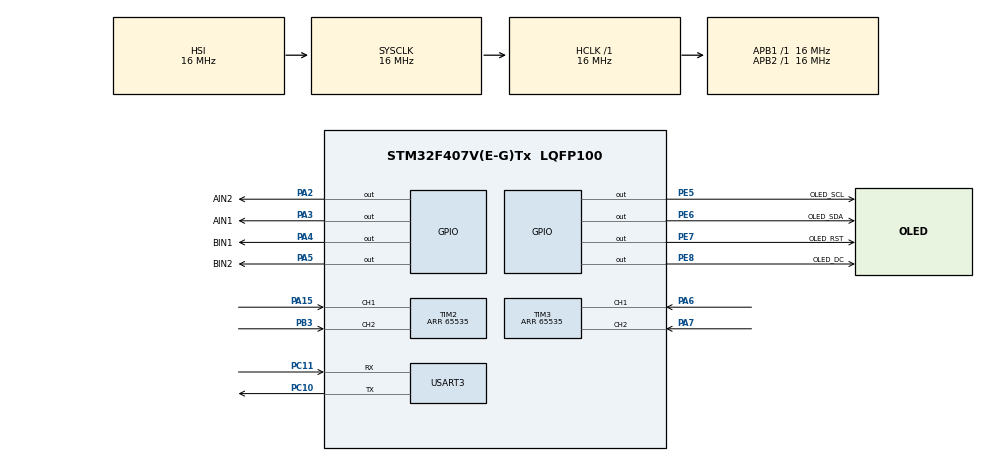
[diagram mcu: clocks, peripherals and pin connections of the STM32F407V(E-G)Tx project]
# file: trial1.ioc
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FREERTOS.Tasks01=defaultTask,24,128,StartDefaultTask,Default,NULL,Dynamic,NULL,NULL;MotorTask,8,128,motors,Default,NULL,Dynamic,NULL,NULL;EncoderTask,8,128,encoder_task,Default,NULL,Dynamic,NULL,NULL;ShowTask,8,128,show,Default,NULL,Dynamic,NULL,NULL
Mcu.Family=STM32F4
Mcu.Name=STM32F407V(E-G)Tx
Mcu.Package=LQFP100
NVIC.PriorityGroup=NVIC_PRIORITYGROUP_4
NVIC.USART3_IRQn=true\:5\:0\:false\:false\:true\:true\:true\:true
PA15.Signal=S_TIM2_CH1_ETR
PA2.GPIO_Label=AIN2
PA2.GPIO_Speed=GPIO_SPEED_FREQ_HIGH
PA2.Signal=GPIO_Output
PA3.GPIO_Label=AIN1
PA3.GPIO_Speed=GPIO_SPEED_FREQ_HIGH
PA3.Signal=GPIO_Output
PA4.GPIO_Label=BIN1
PA4.Signal=GPIO_Output
PA5.GPIO_Label=BIN2
PA5.Signal=GPIO_Output
PA6.Signal=S_TIM3_CH1
PA7.Signal=S_TIM3_CH2
PB3.Signal=S_TIM2_CH2
PC10.Mode=Asynchronous
PC10.Signal=USART3_TX
PC11.Mode=Asynchronous
PC11.Signal=USART3_RX
PC6.GPIO_Label=PWMA
PC6.Signal=S_TIM8_CH1
PC7.GPIO_Label=PWMB
PC7.Signal=S_TIM8_CH2
PE14.Signal=S_TIM1_CH4
PE5.GPIO_Label=OLED_SCL
PE5.Signal=GPIO_Output
PE6.GPIO_Label=OLED_SDA
PE6.Signal=GPIO_Output
PE7.GPIO_Label=OLED_RST
PE7.Signal=GPIO_Output
PE8.GPIO_Label=OLED_DC
PE8.Signal=GPIO_Output
ProjectManager.HeapSize=0x200
ProjectManager.StackSize=0x400
ProjectManager.TargetToolchain=STM32CubeIDE
RCC.AHBFreq_Value=16000000
RCC.APB1Freq_Value=16000000
RCC.APB2Freq_Value=16000000
RCC.CortexFreq_Value=16000000
RCC.HSE_VALUE=25000000
RCC.HSI_VALUE=16000000
RCC.LSE_VALUE=32768
RCC.SYSCLKFreq_VALUE=16000000
RCC.VCOOutputFreq_Value=192000000
SH.S_TIM1_CH4.0=TIM1_CH4
SH.S_TIM2_CH1_ETR.0=TIM2_CH1,Encoder_Interface
SH.S_TIM2_CH2.0=TIM2_CH2,Encoder_Interface
SH.S_TIM3_CH1.0=TIM3_CH1,Encoder_Interface
SH.S_TIM3_CH2.0=TIM3_CH2,Encoder_Interface
SH.S_TIM8_CH1.0=TIM8_CH1
SH.S_TIM8_CH2.0=TIM8_CH2
TIM1.AutoReloadPreload=TIM_AUTORELOAD_PRELOAD_ENABLE
TIM1.Channel-PWM\ Generation4\ No\ Output=TIM_CHANNEL_4
TIM1.Period=1000
TIM1.Prescaler=320
TIM2.AutoReloadPreload=TIM_AUTORELOAD_PRELOAD_DISABLE
TIM2.EncoderMode=TIM_ENCODERMODE_TI12
TIM2.Period=65535
TIM3.AutoReloadPreload=TIM_AUTORELOAD_PRELOAD_DISABLE
TIM3.EncoderMode=TIM_ENCODERMODE_TI12
TIM3.Period=65535
TIM8.Channel-PWM\ Generation1\ No\ Output=TIM_CHANNEL_1
TIM8.Channel-PWM\ Generation2\ No\ Output=TIM_CHANNEL_2
TIM8.CounterMode=TIM_COUNTERMODE_UP
TIM8.Period=7199
USART3.VirtualMode=VM_ASYNC
VP_FREERTOS_VS_CMSIS_V2.Mode=CMSIS_V2
VP_TIM1_VS_ClockSourceINT.Mode=Internal
VP_TIM1_VS_no_output4.Mode=PWM Generation4 No Output
VP_TIM8_VS_ClockSourceINT.Mode=Internal
VP_TIM8_VS_no_output1.Mode=PWM Generation1 No Output
VP_TIM8_VS_no_output2.Mode=PWM Generation2 No Output
board=custom

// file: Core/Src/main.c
/* USER CODE BEGIN Header */
/**
  ******************************************************************************
  * @file           : main.c
  * @brief          : Main program body
  ******************************************************************************
  * @attention
  *
  * Copyright (c) 2022 STMicroelectronics.
  * All rights reserved.
  *
  * This software is licensed under terms that can be found in the LICENSE file
  * in the root directory of this software component.
  * If no LICENSE file comes with this software, it is provided AS-IS.
  *
  ******************************************************************************
  */
/* USER CODE END Header */
#include "main.h"
#include "cmsis_os.h"

/* USER CODE BEGIN Includes */
#include "oled.h"
#include "math.h"
#include "stdbool.h"
/* USER CODE END Includes */

TIM_HandleTypeDef htim1;
TIM_HandleTypeDef htim2;
TIM_HandleTypeDef htim3;
TIM_HandleTypeDef htim8;

UART_HandleTypeDef huart3;

/* Definitions for defaultTask */
osThreadId_t defaultTaskHandle;
const osThreadAttr_t defaultTask_attributes = {
  .name = "defaultTask",
  .stack_size = 128 * 4,
  .priority = (osPriority_t) osPriorityNormal,
};
/* Definitions for MotorTask */
osThreadId_t MotorTaskHandle;
const osThreadAttr_t MotorTask_attributes = {
  .name = "MotorTask",
  .stack_size = 128 * 4,
  .priority = (osPriority_t) osPriorityLow,
};
/* Definitions for EncoderTask */
osThreadId_t EncoderTaskHandle;
const osThreadAttr_t EncoderTask_attributes = {
  .name = "EncoderTask",
  .stack_size = 128 * 4,
  .priority = (osPriority_t) osPriorityLow,
};
/* Definitions for ShowTask */
osThreadId_t ShowTaskHandle;
const osThreadAttr_t ShowTask_attributes = {
  .name = "ShowTask",
  .stack_size = 128 * 4,
  .priority = (osPriority_t) osPriorityLow,
};

void SystemClock_Config(void);
static void MX_GPIO_Init(void);
static void MX_TIM8_Init(void);
static void MX_TIM2_Init(void);
static void MX_TIM3_Init(void);
static void MX_TIM1_Init(void);
static void MX_USART3_UART_Init(void);
void StartDefaultTask(void *argument);
void motors(void *argument);
void encoder_task(void *argument);
void show(void *argument);

/* USER CODE BEGIN 0 */
uint8_t aRxBuffer[4];
uint8_t indexer = 0; // to store array index and determine number of incoming chars
uint8_t data_rx = 0; // to receive incoming uart char
/* USER CODE END 0 */

int main(void)
{

  /* MCU Configuration--------------------------------------------------------*/

  /* Reset of all peripherals, Initializes the Flash interface and the Systick. */
  HAL_Init();

  /* Configure the system clock */
  SystemClock_Config();

  /* Initialize all configured peripherals */
  MX_GPIO_Init();
  MX_TIM8_Init();
  MX_TIM2_Init();
  MX_TIM3_Init();
  MX_TIM1_Init();
  MX_USART3_UART_Init();
  /* USER CODE BEGIN 2 */
  OLED_Init();

  HAL_UART_Receive_IT(&huart3,(uint8_t *) &data_rx, 1);
//  HAL_UART_Receive_DMA (&huart3, UART1_rxBuffer, 12);
  /* USER CODE END 2 */

  /* Init scheduler */
  osKernelInitialize();

  /* Create the thread(s) */
  /* creation of defaultTask */
  defaultTaskHandle = osThreadNew(StartDefaultTask, NULL, &defaultTask_attributes);

  /* creation of MotorTask */
  MotorTaskHandle = osThreadNew(motors, NULL, &MotorTask_attributes);

  /* creation of EncoderTask */
  EncoderTaskHandle = osThreadNew(encoder_task, NULL, &EncoderTask_attributes);

  /* creation of ShowTask */
  ShowTaskHandle = osThreadNew(show, NULL, &ShowTask_attributes);

  /* Start scheduler */
  osKernelStart();

  /* We should never get here as control is now taken by the scheduler */
  /* Infinite loop */
  while (1)
  {

  }
}

void SystemClock_Config(void)
{
  RCC_OscInitTypeDef RCC_OscInitStruct = {0};
  RCC_ClkInitTypeDef RCC_ClkInitStruct = {0};

  /** Configure the main internal regulator output voltage
  */
  __HAL_RCC_PWR_CLK_ENABLE();
  __HAL_PWR_VOLTAGESCALING_CONFIG(PWR_REGULATOR_VOLTAGE_SCALE1);
  /** Initializes the RCC Oscillators according to the specified parameters
  * in the RCC_OscInitTypeDef structure.
  */
  RCC_OscInitStruct.OscillatorType = RCC_OSCILLATORTYPE_HSI;
  RCC_OscInitStruct.HSIState = RCC_HSI_ON;
  RCC_OscInitStruct.HSICalibrationValue = RCC_HSICALIBRATION_DEFAULT;
  RCC_OscInitStruct.PLL.PLLState = RCC_PLL_NONE;
  if (HAL_RCC_OscConfig(&RCC_OscInitStruct) != HAL_OK)
  {
    Error_Handler();
  }
  /** Initializes the CPU, AHB and APB buses clocks
  */
  RCC_ClkInitStruct.ClockType = RCC_CLOCKTYPE_HCLK|RCC_CLOCKTYPE_SYSCLK
                              |RCC_CLOCKTYPE_PCLK1|RCC_CLOCKTYPE_PCLK2;
  RCC_ClkInitStruct.SYSCLKSource = RCC_SYSCLKSOURCE_HSI;
  RCC_ClkInitStruct.AHBCLKDivider = RCC_SYSCLK_DIV1;
  RCC_ClkInitStruct.APB1CLKDivider = RCC_HCLK_DIV1;
  RCC_ClkInitStruct.APB2CLKDivider = RCC_HCLK_DIV1;

  if (HAL_RCC_ClockConfig(&RCC_ClkInitStruct, FLASH_LATENCY_0) != HAL_OK)
  {
    Error_Handler();
  }
}

static void MX_TIM1_Init(void)
{

  TIM_ClockConfigTypeDef sClockSourceConfig = {0};
  TIM_MasterConfigTypeDef sMasterConfig = {0};
  TIM_OC_InitTypeDef sConfigOC = {0};
  TIM_BreakDeadTimeConfigTypeDef sBreakDeadTimeConfig = {0};

  htim1.Instance = TIM1;
  htim1.Init.Prescaler = 320;
  htim1.Init.CounterMode = TIM_COUNTERMODE_UP;
  htim1.Init.Period = 1000;
  htim1.Init.ClockDivision = TIM_CLOCKDIVISION_DIV1;
  htim1.Init.RepetitionCounter = 0;
  htim1.Init.AutoReloadPreload = TIM_AUTORELOAD_PRELOAD_ENABLE;
  if (HAL_TIM_Base_Init(&htim1) != HAL_OK)
  {
    Error_Handler();
  }
  sClockSourceConfig.ClockSource = TIM_CLOCKSOURCE_INTERNAL;
  if (HAL_TIM_ConfigClockSource(&htim1, &sClockSourceConfig) != HAL_OK)
  {
    Error_Handler();
  }
  if (HAL_TIM_PWM_Init(&htim1) != HAL_OK)
  {
    Error_Handler();
  }
  sMasterConfig.MasterOutputTrigger = TIM_TRGO_RESET;
  sMasterConfig.MasterSlaveMode = TIM_MASTERSLAVEMODE_DISABLE;
  if (HAL_TIMEx_MasterConfigSynchronization(&htim1, &sMasterConfig) != HAL_OK)
  {
    Error_Handler();
  }
  sConfigOC.OCMode = TIM_OCMODE_PWM1;
  sConfigOC.Pulse = 0;
  sConfigOC.OCPolarity = TIM_OCPOLARITY_HIGH;
  sConfigOC.OCFastMode = TIM_OCFAST_DISABLE;
  sConfigOC.OCIdleState = TIM_OCIDLESTATE_RESET;
  sConfigOC.OCNIdleState = TIM_OCNIDLESTATE_RESET;
  if (HAL_TIM_PWM_ConfigChannel(&htim1, &sConfigOC, TIM_CHANNEL_4) != HAL_OK)
  {
    Error_Handler();
  }
  sBreakDeadTimeConfig.OffStateRunMode = TIM_OSSR_DISABLE;
  sBreakDeadTimeConfig.OffStateIDLEMode = TIM_OSSI_DISABLE;
  sBreakDeadTimeConfig.LockLevel = TIM_LOCKLEVEL_OFF;
  sBreakDeadTimeConfig.DeadTime = 0;
  sBreakDeadTimeConfig.BreakState = TIM_BREAK_DISABLE;
  sBreakDeadTimeConfig.BreakPolarity = TIM_BREAKPOLARITY_HIGH;
  sBreakDeadTimeConfig.AutomaticOutput = TIM_AUTOMATICOUTPUT_DISABLE;
  if (HAL_TIMEx_ConfigBreakDeadTime(&htim1, &sBreakDeadTimeConfig) != HAL_OK)
  {
    Error_Handler();
  }

}

static void MX_TIM2_Init(void)
{

  TIM_Encoder_InitTypeDef sConfig = {0};
  TIM_MasterConfigTypeDef sMasterConfig = {0};

  htim2.Instance = TIM2;
  htim2.Init.Prescaler = 0;
  htim2.Init.CounterMode = TIM_COUNTERMODE_UP;
  htim2.Init.Period = 65535;
  htim2.Init.ClockDivision = TIM_CLOCKDIVISION_DIV1;
  htim2.Init.AutoReloadPreload = TIM_AUTORELOAD_PRELOAD_DISABLE;
  sConfig.EncoderMode = TIM_ENCODERMODE_TI12;
  sConfig.IC1Polarity = TIM_ICPOLARITY_RISING;
  sConfig.IC1Selection = TIM_ICSELECTION_DIRECTTI;
  sConfig.IC1Prescaler = TIM_ICPSC_DIV1;
  sConfig.IC1Filter = 0;
  sConfig.IC2Polarity = TIM_ICPOLARITY_RISING;
  sConfig.IC2Selection = TIM_ICSELECTION_DIRECTTI;
  sConfig.IC2Prescaler = TIM_ICPSC_DIV1;
  sConfig.IC2Filter = 0;
  if (HAL_TIM_Encoder_Init(&htim2, &sConfig) != HAL_OK)
  {
    Error_Handler();
  }
  sMasterConfig.MasterOutputTrigger = TIM_TRGO_RESET;
  sMasterConfig.MasterSlaveMode = TIM_MASTERSLAVEMODE_DISABLE;
  if (HAL_TIMEx_MasterConfigSynchronization(&htim2, &sMasterConfig) != HAL_OK)
  {
    Error_Handler();
  }

}

static void MX_TIM3_Init(void)
{

  TIM_Encoder_InitTypeDef sConfig = {0};
  TIM_MasterConfigTypeDef sMasterConfig = {0};

  htim3.Instance = TIM3;
  htim3.Init.Prescaler = 0;
  htim3.Init.CounterMode = TIM_COUNTERMODE_UP;
  htim3.Init.Period = 65535;
  htim3.Init.ClockDivision = TIM_CLOCKDIVISION_DIV1;
  htim3.Init.AutoReloadPreload = TIM_AUTORELOAD_PRELOAD_DISABLE;
  sConfig.EncoderMode = TIM_ENCODERMODE_TI12;
  sConfig.IC1Polarity = TIM_ICPOLARITY_RISING;
  sConfig.IC1Selection = TIM_ICSELECTION_DIRECTTI;
  sConfig.IC1Prescaler = TIM_ICPSC_DIV1;
  sConfig.IC1Filter = 0;
  sConfig.IC2Polarity = TIM_ICPOLARITY_RISING;
  sConfig.IC2Selection = TIM_ICSELECTION_DIRECTTI;
  sConfig.IC2Prescaler = TIM_ICPSC_DIV1;
  sConfig.IC2Filter = 0;
  if (HAL_TIM_Encoder_Init(&htim3, &sConfig) != HAL_OK)
  {
    Error_Handler();
  }
  sMasterConfig.MasterOutputTrigger = TIM_TRGO_RESET;
  sMasterConfig.MasterSlaveMode = TIM_MASTERSLAVEMODE_DISABLE;
  if (HAL_TIMEx_MasterConfigSynchronization(&htim3, &sMasterConfig) != HAL_OK)
  {
    Error_Handler();
  }

}

static void MX_TIM8_Init(void)
{

  TIM_ClockConfigTypeDef sClockSourceConfig = {0};
  TIM_MasterConfigTypeDef sMasterConfig = {0};
  TIM_OC_InitTypeDef sConfigOC = {0};
  TIM_BreakDeadTimeConfigTypeDef sBreakDeadTimeConfig = {0};

  htim8.Instance = TIM8;
  htim8.Init.Prescaler = 0;
  htim8.Init.CounterMode = TIM_COUNTERMODE_UP;
  htim8.Init.Period = 7199;
  htim8.Init.ClockDivision = TIM_CLOCKDIVISION_DIV1;
  htim8.Init.RepetitionCounter = 0;
  htim8.Init.AutoReloadPreload = TIM_AUTORELOAD_PRELOAD_DISABLE;
  if (HAL_TIM_Base_Init(&htim8) != HAL_OK)
  {
    Error_Handler();
  }
  sClockSourceConfig.ClockSource = TIM_CLOCKSOURCE_INTERNAL;
  if (HAL_TIM_ConfigClockSource(&htim8, &sClockSourceConfig) != HAL_OK)
  {
    Error_Handler();
  }
  if (HAL_TIM_PWM_Init(&htim8) != HAL_OK)
  {
    Error_Handler();
  }
  sMasterConfig.MasterOutputTrigger = TIM_TRGO_RESET;
  sMasterConfig.MasterSlaveMode = TIM_MASTERSLAVEMODE_DISABLE;
  if (HAL_TIMEx_MasterConfigSynchronization(&htim8, &sMasterConfig) != HAL_OK)
  {
    Error_Handler();
  }
  sConfigOC.OCMode = TIM_OCMODE_PWM1;
  sConfigOC.Pulse = 0;
  sConfigOC.OCPolarity = TIM_OCPOLARITY_HIGH;
  sConfigOC.OCNPolarity = TIM_OCNPOLARITY_HIGH;
  sConfigOC.OCFastMode = TIM_OCFAST_DISABLE;
  sConfigOC.OCIdleState = TIM_OCIDLESTATE_RESET;
  sConfigOC.OCNIdleState = TIM_OCNIDLESTATE_RESET;
  if (HAL_TIM_PWM_ConfigChannel(&htim8, &sConfigOC, TIM_CHANNEL_1) != HAL_OK)
  {
    Error_Handler();
  }
  if (HAL_TIM_PWM_ConfigChannel(&htim8, &sConfigOC, TIM_CHANNEL_2) != HAL_OK)
  {
    Error_Handler();
  }
  sBreakDeadTimeConfig.OffStateRunMode = TIM_OSSR_DISABLE;
  sBreakDeadTimeConfig.OffStateIDLEMode = TIM_OSSI_DISABLE;
  sBreakDeadTimeConfig.LockLevel = TIM_LOCKLEVEL_OFF;
  sBreakDeadTimeConfig.DeadTime = 0;
  sBreakDeadTimeConfig.BreakState = TIM_BREAK_DISABLE;
  sBreakDeadTimeConfig.BreakPolarity = TIM_BREAKPOLARITY_HIGH;
  sBreakDeadTimeConfig.AutomaticOutput = TIM_AUTOMATICOUTPUT_DISABLE;
  if (HAL_TIMEx_ConfigBreakDeadTime(&htim8, &sBreakDeadTimeConfig) != HAL_OK)
  {
    Error_Handler();
  }

}

static void MX_USART3_UART_Init(void)
{

  huart3.Instance = USART3;
  huart3.Init.BaudRate = 115200;
  huart3.Init.WordLength = UART_WORDLENGTH_8B;
  huart3.Init.StopBits = UART_STOPBITS_1;
  huart3.Init.Parity = UART_PARITY_NONE;
  huart3.Init.Mode = UART_MODE_TX_RX;
  huart3.Init.HwFlowCtl = UART_HWCONTROL_NONE;
  huart3.Init.OverSampling = UART_OVERSAMPLING_16;
  if (HAL_UART_Init(&huart3) != HAL_OK)
  {
    Error_Handler();
  }

}

static void MX_GPIO_Init(void)
{
  GPIO_InitTypeDef GPIO_InitStruct = {0};

  /* GPIO Ports Clock Enable */
  __HAL_RCC_GPIOE_CLK_ENABLE();
  __HAL_RCC_GPIOA_CLK_ENABLE();
  __HAL_RCC_GPIOC_CLK_ENABLE();
  __HAL_RCC_GPIOB_CLK_ENABLE();

  /*Configure GPIO pin Output Level */
  HAL_GPIO_WritePin(GPIOE, OLED_SCL_Pin|OLED_SDA_Pin|OLED_RST_Pin|OLED_DC_Pin, GPIO_PIN_RESET);

  /*Configure GPIO pin Output Level */
  HAL_GPIO_WritePin(GPIOA, AIN2_Pin|AIN1_Pin|BIN1_Pin|BIN2_Pin, GPIO_PIN_RESET);

  /*Configure GPIO pins : OLED_SCL_Pin OLED_SDA_Pin OLED_RST_Pin OLED_DC_Pin */
  GPIO_InitStruct.Pin = OLED_SCL_Pin|OLED_SDA_Pin|OLED_RST_Pin|OLED_DC_Pin;
  GPIO_InitStruct.Mode = GPIO_MODE_OUTPUT_PP;
  GPIO_InitStruct.Pull = GPIO_NOPULL;
  GPIO_InitStruct.Speed = GPIO_SPEED_FREQ_LOW;
  HAL_GPIO_Init(GPIOE, &GPIO_InitStruct);

  /*Configure GPIO pins : AIN2_Pin AIN1_Pin */
  GPIO_InitStruct.Pin = AIN2_Pin|AIN1_Pin;
  GPIO_InitStruct.Mode = GPIO_MODE_OUTPUT_PP;
  GPIO_InitStruct.Pull = GPIO_NOPULL;
  GPIO_InitStruct.Speed = GPIO_SPEED_FREQ_HIGH;
  HAL_GPIO_Init(GPIOA, &GPIO_InitStruct);

  /*Configure GPIO pins : BIN1_Pin BIN2_Pin */
  GPIO_InitStruct.Pin = BIN1_Pin|BIN2_Pin;
  GPIO_InitStruct.Mode = GPIO_MODE_OUTPUT_PP;
  GPIO_InitStruct.Pull = GPIO_NOPULL;
  GPIO_InitStruct.Speed = GPIO_SPEED_FREQ_LOW;
  HAL_GPIO_Init(GPIOA, &GPIO_InitStruct);

}

/* USER CODE BEGIN 4 */
bool receivingUART = false;
bool commandReady = false;
uint8_t count = 0;
uint8_t txCount = 0;
uint32_t testVal = 0;

void HAL_UART_RxCpltCallback(UART_HandleTypeDef * huart)
{
	UNUSED(huart);
  count += 1;
	uint8_t endChar = '\r';
	if (data_rx == endChar && ! receivingUART){
		data_rx = 0;
		indexer = 0;
		memset(aRxBuffer,0, 4);
		receivingUART = true;
	} else if (receivingUART){
		if (data_rx != endChar){
			aRxBuffer[indexer] = data_rx;
			indexer++;
		} else {
			receivingUART = false;
			commandReady = true;
			data_rx = 0;
		}
	}
	/**
	 * re receiving signal
	 */
	HAL_UART_Receive_IT(&huart3,(uint8_t *) &data_rx, 1);
}

void HAL_UART_TxCpltCallback(UART_HandleTypeDef *huart)
{
	UNUSED(huart);
  txCount +=1 ;
}

// motors function

float arrTofloat(uint8_t arr[4], int s, int e){
	float res =0;
	for (int j=0;j<=e-s;j++){
//		myInt1 = bytes[0] + (bytes[1] << 8) + (bytes[2] << 16) + (bytes[3] << 24);
	 	res += pow(10,j)*((int) arr[e-j]-48);
	}
	return res;
}

void stop_rear_wheels()
{
	__HAL_TIM_SET_COMPARE(&htim8, TIM_CHANNEL_1, 0);
	__HAL_TIM_SET_COMPARE(&htim8, TIM_CHANNEL_2, 0);
}

void set_wheel_direction(bool isForward){
	if (isForward){
		HAL_GPIO_WritePin(GPIOA,AIN2_Pin,GPIO_PIN_SET);
		HAL_GPIO_WritePin(GPIOA,AIN1_Pin,GPIO_PIN_RESET);
		HAL_GPIO_WritePin(GPIOA, BIN2_Pin, GPIO_PIN_SET);
		HAL_GPIO_WritePin(GPIOA, BIN1_Pin, GPIO_PIN_RESET);
	} else {
		HAL_GPIO_WritePin(GPIOA,AIN2_Pin,GPIO_PIN_RESET);
		HAL_GPIO_WritePin(GPIOA,AIN1_Pin,GPIO_PIN_SET);
		HAL_GPIO_WritePin(GPIOA, BIN2_Pin, GPIO_PIN_RESET);
		HAL_GPIO_WritePin(GPIOA, BIN1_Pin, GPIO_PIN_SET);
	}
}

uint32_t motorAPwm = 5840; // 5820
uint32_t motorBPwm = 5510; // 5510;
uint32_t motorAPwmLow = 1000;
uint32_t motorBPwmLow = 950;
uint32_t servoRight = 135; // measure tan 1.6/3 - set to 140 => motor will not run -> think 135 is max
uint32_t servoLeft = 50; // old 44 // measure tan: 1.7/3
uint32_t servoMid = 73;

/** measure distance **/
bool isMeasureDis = false;
bool overFlow = false;
uint32_t diffA = 0;
uint32_t diffB = 0;

uint32_t cnt1A = 0;
uint32_t cnt1B = 0;
uint32_t cnt2A = 0;
uint32_t cnt2B = 0;

bool isDownA = false;
bool isDownB = false;

uint32_t findDiffTime (bool isCountDown, uint32_t cnt1, uint32_t cnt2){
	uint32_t diff;
	if(isCountDown){
		if(cnt2 <= cnt1){
			overFlow = false;
			diff = cnt1 - cnt2;
		} else {
			overFlow = true;
			diff = (65535 - cnt2) + cnt1;
		}
	}
	else{
		if(cnt2 >= cnt1){
			overFlow = false;
			diff = cnt2 - cnt1;
		} else {
			overFlow = true;
			diff = (65535 - cnt1) + cnt2;
		}
	}
	return diff;
}

float measure (int cnt1_A, int cnt1_B){
	float disA, disB;
	int cnt2_A, cnt2_B, diff_A, diff_B;

	isDownA = __HAL_TIM_IS_TIM_COUNTING_DOWN(&htim2);
	isDownB = __HAL_TIM_IS_TIM_COUNTING_DOWN(&htim3);
	cnt2_A = __HAL_TIM_GET_COUNTER(&htim2);
	cnt2_B = __HAL_TIM_GET_COUNTER(&htim3);

	cnt2A = cnt2_A;
	cnt2B = cnt2_B;
	diff_A = findDiffTime(isDownA, cnt1_A, cnt2_A);
	diff_B = findDiffTime(isDownB ,cnt1_B, cnt2_B);

	diffA = diff_A;
	diffB = diff_B;
	disA = diff_A*M_PI/(330*4)*6.5;
	disB = diff_B*M_PI/(330*4)*6.5;
	return (disA + disB)/2;
}

/* distance should be in cm*/
void move_straight(bool isForward, float distance)
{
//	uint32_t distance_ticks = ((distance/100)/(0.065*3.1416)) / (speedConstant/330*36) *60 * 1000;
	//(1*1.24/(0.065*3.1416)) / (1180/330*36) *60 * 1000
	set_wheel_direction(isForward);
//	uint8_t hello_A[20];
	isMeasureDis = true; // trigger measure distance
	float measuredDis = 0;
	int cnt1_A, cnt1_B;

	uint32_t usePwmA, usePwmB;
	if (distance > 50){
		usePwmA = motorAPwm;
		usePwmB = motorBPwm;
	} else {
		usePwmA = motorAPwmLow;
		usePwmB = motorBPwmLow;
	}
//	LED_SHOW = 1;
	HAL_Delay(100); // delay to the encoder work properly when change direction
	htim1.Instance->CCR4 = servoMid;
	__HAL_TIM_SET_COMPARE(&htim8, TIM_CHANNEL_1, usePwmA);
	__HAL_TIM_SET_COMPARE(&htim8, TIM_CHANNEL_2, usePwmB);

	cnt1_A = __HAL_TIM_GET_COUNTER(&htim2);
  cnt1_B = __HAL_TIM_GET_COUNTER(&htim3);
//	while (distance > measuredDis) {
//		deltaT = HAL_GetTick() - tick;
//		if (deltaT > 10L){
//			measuredDis = measure(cnt1_A, cnt1_B);
//			testVal = (uint32_t) measuredDis;
//			tick = HAL_GetTick();
//		}
//	}
	do {
		measuredDis = measure(cnt1_A, cnt1_B);
		testVal = (uint32_t) measuredDis;
		HAL_Delay(10);
	} while (distance > measuredDis);
//	LED_SHOW = 0;
	isMeasureDis = false; // stop measure
	stop_rear_wheels();
}

void move_straight_10(){
	htim1.Instance->CCR4 = servoMid;
	osDelay(500);
	uint32_t pwmVal = 5505;
	uint32_t pwmVal_2 = 5820;

	HAL_GPIO_WritePin(GPIOA, AIN2_Pin, GPIO_PIN_SET);
	HAL_GPIO_WritePin(GPIOA, BIN2_Pin, GPIO_PIN_SET);
	HAL_GPIO_WritePin(GPIOA, AIN1_Pin, GPIO_PIN_RESET);
	HAL_GPIO_WritePin(GPIOA, BIN1_Pin, GPIO_PIN_RESET);
	__HAL_TIM_SetCompare(&htim8, TIM_CHANNEL_1, pwmVal_2);
	__HAL_TIM_SetCompare(&htim8, TIM_CHANNEL_2, pwmVal);
	osDelay(125); // set this to change the distance
	// osDelay(120) is 10cm
	stop_rear_wheels();
	osDelay(500);
}

void turn_left()
{
	htim1.Instance->CCR4 = servoMid;
	osDelay(500);
	htim1.Instance->CCR4 = servoLeft;
	uint32_t pwmVal = 0;
	uint32_t pwmVal_2 = 6000;

	HAL_GPIO_WritePin(GPIOA, AIN2_Pin, GPIO_PIN_SET);
	HAL_GPIO_WritePin(GPIOA, BIN2_Pin, GPIO_PIN_SET);
	HAL_GPIO_WritePin(GPIOA, AIN1_Pin, GPIO_PIN_RESET);
	HAL_GPIO_WritePin(GPIOA, BIN1_Pin, GPIO_PIN_RESET);
	__HAL_TIM_SetCompare(&htim8, TIM_CHANNEL_1, pwmVal_2);
	__HAL_TIM_SetCompare(&htim8, TIM_CHANNEL_2, pwmVal);
	osDelay(630); // set this to change the angle of turn
	stop_rear_wheels();
//  htim1.Instance->CCR4 = servoMid;
//	osDelay(500);
}

void turn_right()
{
	htim1.Instance->CCR4 = servoMid;
	osDelay(500);
	htim1.Instance->CCR4 = servoRight;
	uint32_t pwmVal = 6000;
	uint32_t pwmVal_2 = 0;

	HAL_GPIO_WritePin(GPIOA, AIN2_Pin, GPIO_PIN_SET);
	HAL_GPIO_WritePin(GPIOA, BIN2_Pin, GPIO_PIN_SET);
	HAL_GPIO_WritePin(GPIOA, AIN1_Pin, GPIO_PIN_RESET);
	HAL_GPIO_WritePin(GPIOA, BIN1_Pin, GPIO_PIN_RESET);
	__HAL_TIM_SetCompare(&htim8, TIM_CHANNEL_1, pwmVal_2);
	__HAL_TIM_SetCompare(&htim8, TIM_CHANNEL_2, pwmVal);
	osDelay(660); // set this to change the angle of turn
	stop_rear_wheels();
//	htim1.Instance->CCR4 = servoMid;
//	osDelay(500);
}

/**
 * For turning
 */
const float tan_of_wheel_deg_right = 1.75/4.15; // 31.06 deg 0.8/1.3 0.8/1.6 1.75/3
const float tan_of_wheel_deg_left = 1.75/3.5; // 31.06 deg 0.8/1.3 0.8/1.6 1.75/3
float calTurnDis (int deg, bool isRight){
	float tan;
	if (isRight){
		tan = tan_of_wheel_deg_right;
	} else {
		tan = tan_of_wheel_deg_left;
	}
	float turnRadius = 14.5 / tan;
	return turnRadius * deg * M_PI/180;
}

int testDeg = 0;
void turn_deg( int deg, bool isRight, bool isForward){
	testDeg = 0;
	set_wheel_direction(isForward);
	uint32_t servo;

	float measuredDis = 0;
	int cnt1_A, cnt1_B;

	if (isRight){
		servo = servoRight;
	} else {
		servo = servoLeft;
	}
	htim1.Instance->CCR4 = servo;
	HAL_Delay(1000);
	__HAL_TIM_SetCompare(&htim8, TIM_CHANNEL_1, motorAPwmLow);
	__HAL_TIM_SetCompare(&htim8, TIM_CHANNEL_2, motorBPwmLow);

	float distance = calTurnDis(deg, isRight);
	cnt1_A = __HAL_TIM_GET_COUNTER(&htim2);
	cnt1_B = __HAL_TIM_GET_COUNTER(&htim3);
	cnt1A = cnt1_A;
	cnt1B = cnt1_B;
//	while (distance > measuredDis) {
//		deltaT = HAL_GetTick() - tick;
//		if (deltaT > 10L){
//			measuredDis = measure(cnt1_A, cnt1_B);
//			testVal = (uint32_t) measuredDis;
//			tick = HAL_GetTick();
//		}
//	}
	do {
		measuredDis = measure(cnt1_A, cnt1_B);
		testVal = (uint32_t) measuredDis;
		HAL_Delay(5);
		} while (distance > measuredDis);
	stop_rear_wheels();
  htim1.Instance->CCR4 = servoMid;
}

/**
 * 3 point turn
 */
void three_points_turn_90deg(bool isRight){
	move_straight(false, 15);
	turn_deg(30, isRight, true);
	move_straight(false, 15);
	turn_deg(30, isRight, true);
	move_straight(false, 15);
	turn_deg(30, isRight, true);
}
// end motors function
/* USER CODE END 4 */

void StartDefaultTask(void *argument)
{
  /* USER CODE BEGIN 5 */
  /* Infinite loop */
	uint8_t ch = 'A';
	  for(;;)
	  {
//		HAL_UART_Transmit(&huart3,(uint8_t *)&ch,1,0xFFFF);
//		if(ch<'Z')
//			ch++;
//		else ch = 'A';
	    osDelay(5000);
	  }
  /* USER CODE END 5 */
}

/* USER CODE BEGIN Header_motors */
/**
* @brief Function implementing the MotorTask thread.
* @param argument: Not used
* @retval None
*/
// this var should be del later;
bool haveSendSignalBack = false;
/* USER CODE END Header_motors */
void motors(void *argument)
{
  /* USER CODE BEGIN motors */
	//	HAL_TIM_PWM_Start(&htim1, TIM_CHANNEL_4);
	//	for(;;) {
	//		htim1.Instance->CCR4 = 110; //82
	//		osDelay(2000);
	//		htim1.Instance->CCR4 = 74; //72
	//		osDelay(2000);
	//		htim1.Instance->CCR4 = 44; //62
	//		osDelay(2000);
	//		htim1.Instance->CCR4 = 74; //62
	//		osDelay(2000);
	//	}
	uint16_t pwmVal;
	uint16_t pwmVal_2;
	HAL_TIM_PWM_Start(&htim1, TIM_CHANNEL_4);
	HAL_TIM_PWM_Start(&htim8, TIM_CHANNEL_1);
	HAL_TIM_PWM_Start(&htim8, TIM_CHANNEL_2);
	HAL_TIM_Encoder_Start(&htim2, TIM_CHANNEL_ALL);
	HAL_TIM_Encoder_Start(&htim3, TIM_CHANNEL_ALL);
	/**
	 * note: if set encoder in different channel, may cause in first for loop, encoder not wake up yet and result in move straight no work
	 */

	char direction = 'p'; // 'l' for left, 'r' for right, 'f' for forward
	uint8_t completeChar = 'C';
	uint8_t defaultChar = 'z';
	uint8_t endChar = '\r';

	bool isMoved = false;
	float straightDistance = 0;
	int deg = 0;
	bool doCommand = false;

	osDelay(100);
//	aRxBuffer[0] = 'L';
	bool haveTest = false;
	for(;;)
	  {
			if (commandReady){
				haveSendSignalBack = false;
				doCommand = true;
				switch (aRxBuffer[0]){
					case 'F':
						straightDistance = arrTofloat(aRxBuffer,1,indexer-1);
						if (straightDistance < (float) 50){
							int moveTime = (int) straightDistance/10;
							for (int i=0; i < moveTime; i ++){
								move_straight_10();
							}
						} else {
							move_straight(true, straightDistance);
						}
						straightDistance = 0;
						break;
					case 'B':
						straightDistance = arrTofloat(aRxBuffer,1,indexer-1);
						move_straight(false, straightDistance);
						straightDistance = 0;
						break;
					case 'L':
						if (indexer-1 > 1){
							deg = (int) arrTofloat(aRxBuffer,1,indexer-1);
							turn_deg(deg, false, true);
							deg = 0;
						} else {
							three_points_turn_90deg(false);
						}
						break;
					case 'R':
						if (indexer-1 > 1){
							deg = (int) arrTofloat(aRxBuffer,1,indexer-1);
							turn_deg(deg, true, true);
							deg =0;
						} else {
							three_points_turn_90deg(true);
						}
						break;
					default:
						doCommand = false;
						break;
				}
				if (doCommand){
					if (HAL_UART_Transmit_IT(&huart3, (uint8_t *) &completeChar, 1) == HAL_OK){
						haveSendSignalBack = true;
					};
				}
				commandReady = false;
			}
//			if (! haveTest){
//
//				turn_right();
//				haveTest = true;
//			}
//	  	osDelay(100);
	  }
  /* USER CODE END motors */
}

void encoder_task(void *argument)
{
  /* USER CODE BEGIN encoder_task */
  /* Infinite loop */
  for (;;){
  	osDelay(10000);
  }
  /* USER CODE END encoder_task */
}

void show(void *argument)
{
  /* USER CODE BEGIN show */
  uint8_t hello[20] = "Hello World!\0";
  /* Infinite loop */
  for(;;)
  {
//			sprintf(hello, "Cmd ready: %d", commandReady);
//			OLED_ShowString(10, 20, hello);

			sprintf(hello, "Rec UART: %d", receivingUART);
			OLED_ShowString(10, 30, hello);

			sprintf(hello, "Count cbtx: %d", txCount);
			OLED_ShowString(10, 40, hello);

			sprintf(hello, "Send back: %d", haveSendSignalBack);
			OLED_ShowString(10, 50, hello);

			sprintf(hello, "dis: %d", testVal);
			OLED_ShowString(10, 10, hello);

			/**debug**/

  				sprintf(hello, "Deg: %d", testDeg);
  				OLED_ShowString(10, 20, hello);

//				sprintf(hello, "isDown: %d %d", isDownA, isDownB);
//				OLED_ShowString(10, 10, hello);
//			sprintf(hello, "Cnt1A: %d", cnt1A);
//			OLED_ShowString(10, 20, hello);
//
//			sprintf(hello, "Cnt2A: %d", cnt2A);
//			OLED_ShowString(10, 30, hello);
//
//			sprintf(hello, "Cnt1B: %d", cnt1B);
//			OLED_ShowString(10, 40, hello);
//
//			sprintf(hello, "Cnt2B: %d", cnt2B);
//			OLED_ShowString(10, 50, hello);
			OLED_Refresh_Gram();
    osDelay(100);
  }
  /* USER CODE END show */
}

void Error_Handler(void)
{
  __disable_irq();
  while (1)
  {
  }
}
